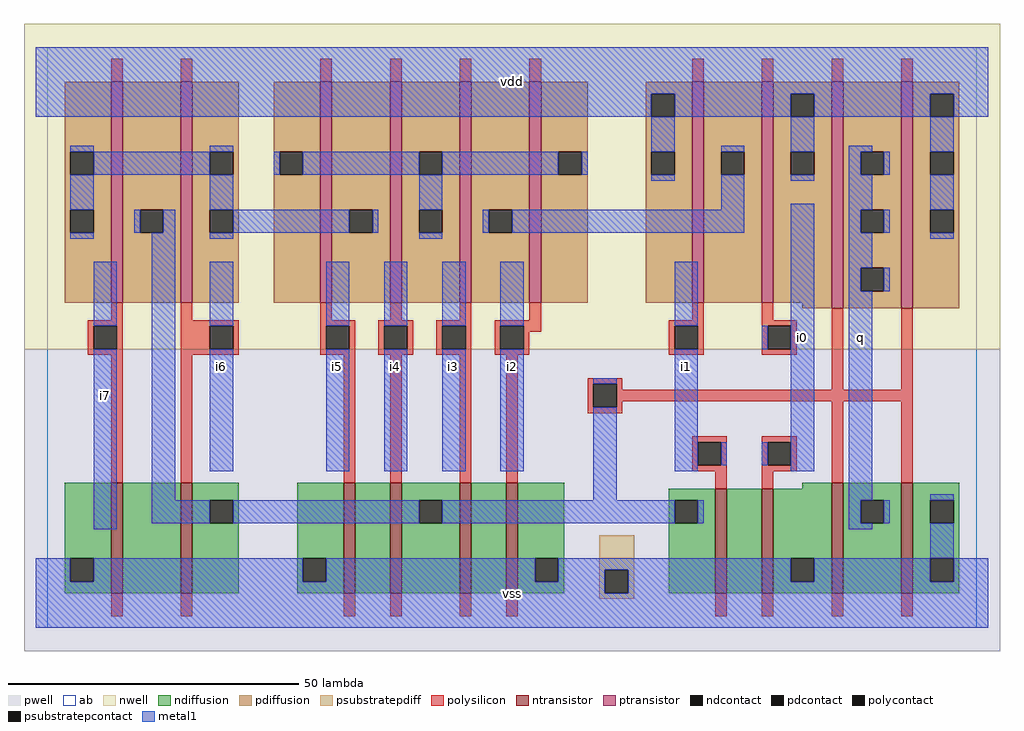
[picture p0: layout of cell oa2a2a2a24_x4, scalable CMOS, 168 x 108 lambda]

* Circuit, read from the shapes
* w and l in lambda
.subckt oa2a2a2a24_x4 i0 i1 i2 i3 i4 i5 i6 i7 q vdd vss
M1 n1 i7 vss vss nfet w=19 l=2
M2 n2 i6 n1 vss nfet w=19 l=2
M3 n3 i5 vss vss nfet w=19 l=2
M4 n2 i4 n3 vss nfet w=19 l=2
M5 n4 i3 n2 vss nfet w=19 l=2
M6 vss i2 n4 vss nfet w=19 l=2
M7 n5 i1 n2 vss nfet w=18 l=2
M8 vss i0 n5 vss nfet w=18 l=2
M9 q n2 vss vss nfet w=19 l=2 m=2
M10 n2 i7 n6 n7 pfet w=38 l=2
M11 n6 i6 n2 n7 pfet w=38 l=2
M12 n6 i5 n8 n7 pfet w=38 l=2
M13 n8 i4 n6 n7 pfet w=38 l=2
M14 n9 i3 n8 n7 pfet w=38 l=2
M15 n8 i2 n9 n7 pfet w=38 l=2
M16 n9 i1 vdd n7 pfet w=38 l=2
M17 vdd i0 n9 n7 pfet w=38 l=2
M18 q n2 vdd n7 pfet w=39 l=2 m=2
.ends

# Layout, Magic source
magic
tech scmos
<< ab >>
rect 0 0 160 100
<< pwell >>
rect -4 -4 164 48
<< nwell >>
rect -4 48 164 104
<< polysilicon >>
rect 11 94 13 98
rect 23 94 25 98
rect 47 94 49 98
rect 59 94 61 98
rect 71 94 73 98
rect 83 94 85 98
rect 111 94 113 98
rect 123 94 125 98
rect 135 94 137 98
rect 147 94 149 98
rect 11 53 13 56
rect 7 52 13 53
rect 7 48 8 52
rect 12 48 13 52
rect 7 47 13 48
rect 11 25 13 47
rect 23 53 25 56
rect 47 53 49 56
rect 59 53 61 56
rect 71 53 73 56
rect 83 53 85 56
rect 111 53 113 56
rect 23 52 33 53
rect 23 48 28 52
rect 32 48 33 52
rect 23 47 33 48
rect 47 52 53 53
rect 47 48 48 52
rect 52 48 53 52
rect 47 47 53 48
rect 57 52 63 53
rect 57 48 58 52
rect 62 48 63 52
rect 57 47 63 48
rect 67 52 73 53
rect 67 48 68 52
rect 72 48 73 52
rect 67 47 73 48
rect 77 52 85 53
rect 77 48 78 52
rect 82 51 85 52
rect 107 52 113 53
rect 82 48 83 51
rect 77 47 83 48
rect 107 48 108 52
rect 112 48 113 52
rect 107 47 113 48
rect 123 53 125 56
rect 123 52 129 53
rect 123 48 124 52
rect 128 48 129 52
rect 123 47 129 48
rect 23 25 25 47
rect 51 25 53 47
rect 59 25 61 47
rect 71 25 73 47
rect 79 25 81 47
rect 93 42 99 43
rect 93 38 94 42
rect 98 41 99 42
rect 135 41 137 55
rect 147 41 149 55
rect 98 39 149 41
rect 98 38 99 39
rect 93 37 99 38
rect 111 32 117 33
rect 111 28 112 32
rect 116 28 117 32
rect 111 27 117 28
rect 115 24 117 27
rect 123 32 129 33
rect 123 28 124 32
rect 128 28 129 32
rect 123 27 129 28
rect 123 24 125 27
rect 135 25 137 39
rect 147 25 149 39
rect 11 2 13 6
rect 23 2 25 6
rect 51 2 53 6
rect 59 2 61 6
rect 71 2 73 6
rect 79 2 81 6
rect 115 2 117 6
rect 123 2 125 6
rect 135 2 137 6
rect 147 2 149 6
<< ndiffusion >>
rect 3 12 11 25
rect 3 8 4 12
rect 8 8 11 12
rect 3 6 11 8
rect 13 6 23 25
rect 25 22 33 25
rect 25 18 28 22
rect 32 18 33 22
rect 25 6 33 18
rect 43 12 51 25
rect 43 8 44 12
rect 48 8 51 12
rect 43 6 51 8
rect 53 6 59 25
rect 61 22 71 25
rect 61 18 64 22
rect 68 18 71 22
rect 61 6 71 18
rect 73 6 79 25
rect 81 12 89 25
rect 130 24 135 25
rect 107 22 115 24
rect 107 18 108 22
rect 112 18 115 22
rect 81 8 84 12
rect 88 8 89 12
rect 81 6 89 8
rect 107 6 115 18
rect 117 6 123 24
rect 125 12 135 24
rect 125 8 128 12
rect 132 8 135 12
rect 125 6 135 8
rect 137 22 147 25
rect 137 18 140 22
rect 144 18 147 22
rect 137 6 147 18
rect 149 22 157 25
rect 149 18 152 22
rect 156 18 157 22
rect 149 12 157 18
rect 149 8 152 12
rect 156 8 157 12
rect 149 6 157 8
<< pdiffusion >>
rect 3 82 11 94
rect 3 78 4 82
rect 8 78 11 82
rect 3 72 11 78
rect 3 68 4 72
rect 8 68 11 72
rect 3 56 11 68
rect 13 72 23 94
rect 13 68 16 72
rect 20 68 23 72
rect 13 56 23 68
rect 25 82 33 94
rect 25 78 28 82
rect 32 78 33 82
rect 25 72 33 78
rect 25 68 28 72
rect 32 68 33 72
rect 25 56 33 68
rect 39 82 47 94
rect 39 78 40 82
rect 44 78 47 82
rect 39 56 47 78
rect 49 72 59 94
rect 49 68 52 72
rect 56 68 59 72
rect 49 56 59 68
rect 61 82 71 94
rect 61 78 64 82
rect 68 78 71 82
rect 61 72 71 78
rect 61 68 64 72
rect 68 68 71 72
rect 61 56 71 68
rect 73 72 83 94
rect 73 68 76 72
rect 80 68 83 72
rect 73 56 83 68
rect 85 82 93 94
rect 85 78 88 82
rect 92 78 93 82
rect 85 56 93 78
rect 103 92 111 94
rect 103 88 104 92
rect 108 88 111 92
rect 103 82 111 88
rect 103 78 104 82
rect 108 78 111 82
rect 103 56 111 78
rect 113 82 123 94
rect 113 78 116 82
rect 120 78 123 82
rect 113 56 123 78
rect 125 92 135 94
rect 125 88 128 92
rect 132 88 135 92
rect 125 82 135 88
rect 125 78 128 82
rect 132 78 135 82
rect 125 56 135 78
rect 130 55 135 56
rect 137 82 147 94
rect 137 78 140 82
rect 144 78 147 82
rect 137 72 147 78
rect 137 68 140 72
rect 144 68 147 72
rect 137 62 147 68
rect 137 58 140 62
rect 144 58 147 62
rect 137 55 147 58
rect 149 92 157 94
rect 149 88 152 92
rect 156 88 157 92
rect 149 82 157 88
rect 149 78 152 82
rect 156 78 157 82
rect 149 72 157 78
rect 149 68 152 72
rect 156 68 157 72
rect 149 55 157 68
<< metal1 >>
rect -2 92 162 100
rect -2 88 104 92
rect 108 88 128 92
rect 132 88 152 92
rect 156 88 162 92
rect 4 82 8 83
rect 28 82 32 83
rect 104 82 108 88
rect 8 78 28 82
rect 39 78 40 82
rect 44 78 64 82
rect 68 78 88 82
rect 92 78 93 82
rect 4 72 8 78
rect 28 72 32 78
rect 64 72 68 78
rect 104 77 108 78
rect 116 82 120 83
rect 116 72 120 78
rect 128 82 132 88
rect 128 77 132 78
rect 138 82 142 83
rect 152 82 156 88
rect 138 78 140 82
rect 144 78 145 82
rect 15 68 16 72
rect 20 68 22 72
rect 4 67 8 68
rect 8 52 12 63
rect 8 17 12 48
rect 18 22 22 68
rect 32 68 52 72
rect 56 68 57 72
rect 75 68 76 72
rect 80 68 120 72
rect 28 67 32 68
rect 64 67 68 68
rect 28 52 32 63
rect 28 27 32 48
rect 48 52 52 63
rect 48 27 52 48
rect 58 52 62 63
rect 58 27 62 48
rect 68 52 72 63
rect 68 27 72 48
rect 78 52 82 63
rect 78 27 82 48
rect 108 52 112 63
rect 123 48 124 52
rect 94 42 98 43
rect 94 22 98 38
rect 108 27 112 48
rect 116 28 117 32
rect 123 28 124 32
rect 128 27 132 73
rect 138 72 142 78
rect 152 72 156 78
rect 138 68 140 72
rect 144 68 145 72
rect 138 62 142 68
rect 152 67 156 68
rect 138 58 140 62
rect 144 58 145 62
rect 138 22 142 58
rect 152 22 156 23
rect 18 18 28 22
rect 32 18 64 22
rect 68 18 108 22
rect 112 18 113 22
rect 138 18 140 22
rect 144 18 145 22
rect 138 17 142 18
rect 152 12 156 18
rect -2 8 4 12
rect 8 8 44 12
rect 48 8 84 12
rect 88 10 128 12
rect 88 8 96 10
rect -2 6 96 8
rect 100 8 128 10
rect 132 8 152 12
rect 156 8 162 12
rect 100 6 162 8
rect -2 0 162 6
<< ntransistor >>
rect 11 6 13 25
rect 23 6 25 25
rect 51 6 53 25
rect 59 6 61 25
rect 71 6 73 25
rect 79 6 81 25
rect 115 6 117 24
rect 123 6 125 24
rect 135 6 137 25
rect 147 6 149 25
<< ptransistor >>
rect 11 56 13 94
rect 23 56 25 94
rect 47 56 49 94
rect 59 56 61 94
rect 71 56 73 94
rect 83 56 85 94
rect 111 56 113 94
rect 123 56 125 94
rect 135 55 137 94
rect 147 55 149 94
<< polycontact >>
rect 8 48 12 52
rect 28 48 32 52
rect 48 48 52 52
rect 58 48 62 52
rect 68 48 72 52
rect 78 48 82 52
rect 108 48 112 52
rect 124 48 128 52
rect 94 38 98 42
rect 112 28 116 32
rect 124 28 128 32
<< ndcontact >>
rect 4 8 8 12
rect 28 18 32 22
rect 44 8 48 12
rect 64 18 68 22
rect 108 18 112 22
rect 84 8 88 12
rect 128 8 132 12
rect 140 18 144 22
rect 152 18 156 22
rect 152 8 156 12
<< pdcontact >>
rect 4 78 8 82
rect 4 68 8 72
rect 16 68 20 72
rect 28 78 32 82
rect 28 68 32 72
rect 40 78 44 82
rect 52 68 56 72
rect 64 78 68 82
rect 64 68 68 72
rect 76 68 80 72
rect 88 78 92 82
rect 104 88 108 92
rect 104 78 108 82
rect 116 78 120 82
rect 128 88 132 92
rect 128 78 132 82
rect 140 78 144 82
rect 140 68 144 72
rect 140 58 144 62
rect 152 88 156 92
rect 152 78 156 82
rect 152 68 156 72
<< psubstratepcontact >>
rect 96 6 100 10
<< psubstratepdiff >>
rect 95 10 101 16
rect 95 6 96 10
rect 100 6 101 10
rect 95 5 101 6
<< labels >>
rlabel metal1 10 40 10 40 6 i7
rlabel metal1 30 45 30 45 6 i6
rlabel metal1 50 45 50 45 6 i5
rlabel metal1 60 45 60 45 6 i4
rlabel metal1 80 6 80 6 6 vss
rlabel metal1 70 45 70 45 6 i3
rlabel metal1 80 45 80 45 6 i2
rlabel metal1 80 94 80 94 6 vdd
rlabel metal1 110 45 110 45 6 i1
rlabel metal1 130 50 130 50 6 i0
rlabel metal1 140 50 140 50 6 q
<< end >>
